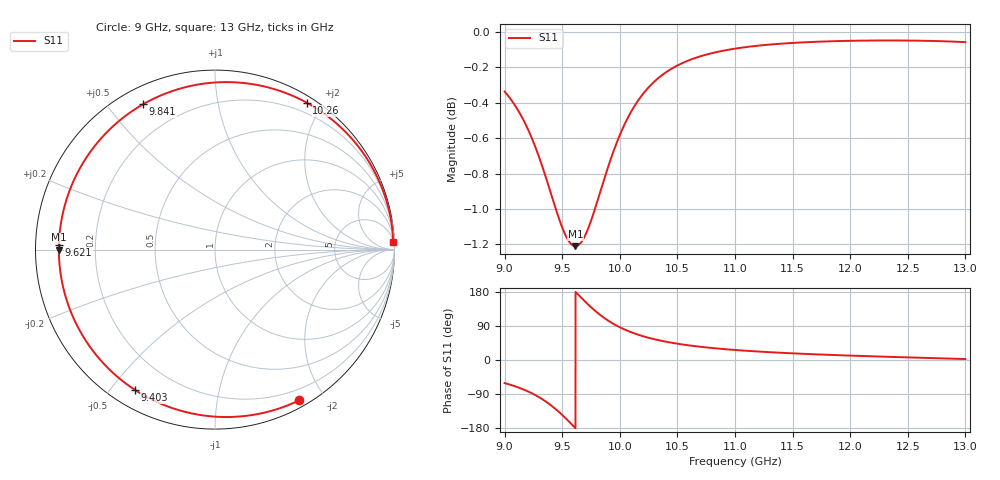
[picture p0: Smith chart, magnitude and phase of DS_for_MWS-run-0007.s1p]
! TOUCHSTONE file generated by CST DESIGN STUDIO
! Date and time: Wed Feb  5 13:38:19 2025
! Project name: C:\Work\MatlabApps\UnitCellOptimizationMatlab\CST\unitcell.cst
! Tree item: Tasks\Sweep1\SPara1\S-Parameters
! Header version: 2024
! Port assignment regex: !\s*Touchstone port\s*([0-9]+)\s*=\s*(CST MWS port|CST DES external port|CST DES block port)\s*(.+)\s* \(\"(.*)\"\)(\s*mode\s*([0-9]+))?.*
! Touchstone port assignment:
! Touchstone port 1 = CST DES external port 1 ("")
# GHz S MA R 50
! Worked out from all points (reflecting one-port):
!   4001 points, 9 GHz to 13 GHz, reference 50 ohm
!   lowest |S11| = -1.2 dB at 9.615 GHz (marker M1), VSWR 14.38, Z = 3.48 - j0.00996 ohm
!   phase of S11 starts at -61 deg and turns -297 deg over the sweep
!   S11 on the Smith chart (normalised r, x): 9 GHz: 0.08, -1.70; 9.403 GHz: 0.07, -0.58; 9.621 GHz: 0.07, +0.02; 9.841 GHz: 0.07, +0.62; 10.26 GHz: 0.08, +1.80; 13 GHz: 7, +45
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9  0.9618 -60.9
9.052  0.9572 -65.5
9.124  0.9493 -73.0
9.187  0.9409 -80.7
9.248  0.9312 -89.6
9.331  0.9154 -104.2
9.403  0.9001 -119.7
9.451  0.8899 -131.6
9.5  0.8806 -145.0
9.56  0.8726 -162.8
9.615  0.87 -180.0
9.621  0.87 178.1
9.677  0.8733 160.7
9.739  0.8824 142.4
9.79  0.8925 128.6
9.841  0.9036 116.3
9.915  0.9193 100.8
10  0.9351 86.4
10.123  0.9523 70.6
10.258  0.9651 58.0
10.371  0.9724 50.1
10.5  0.9783 43.0
10.72  0.9846 34.2
11  0.989 26.5
11.5  0.9927 17.6
12  0.9941 11.6
12.5  0.9942 6.9
13  0.9932 2.5
